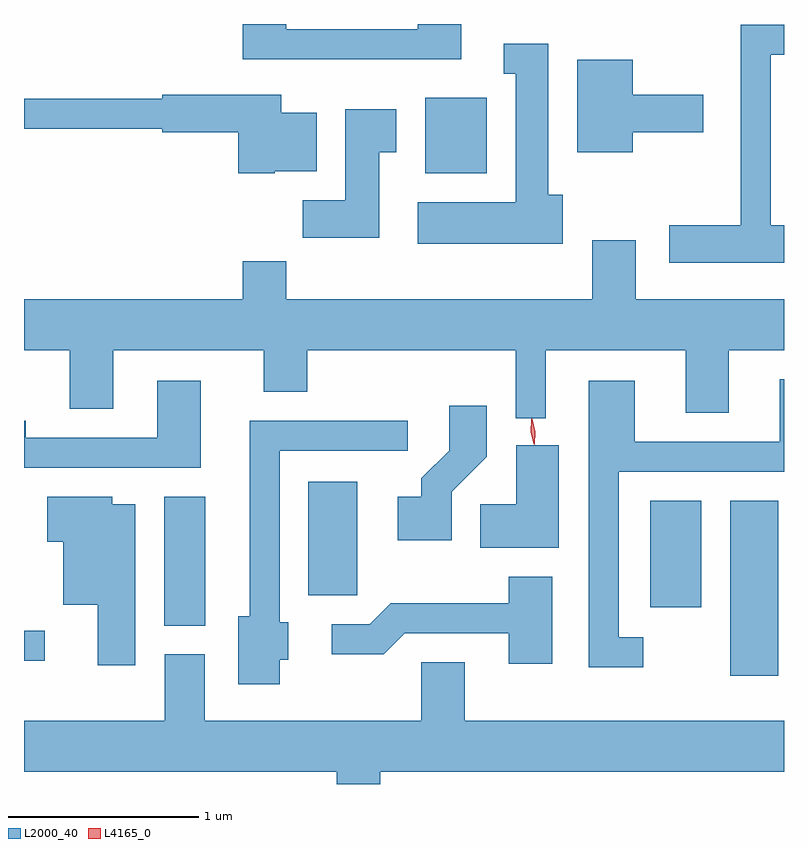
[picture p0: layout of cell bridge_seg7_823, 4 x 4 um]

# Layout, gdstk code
import gdstk
lib = gdstk.Library(unit=1e-6, precision=1e-09)
def R(c, l, rs):  # rectangles x0, y0, x1, y1
    for r in rs: c.add(gdstk.rectangle(r[:2], r[2:], *l))
def P(c, l, *ps):  # polygons
    for p in ps: c.add(gdstk.Polygon(p, *l))
L2000_40 = (2000, 40)
L4165_0 = (4165, 0)

bridge_seg7_823 = lib.new_cell('bridge_seg7_823')
R(bridge_seg7_823, L2000_40, [(204.936,1710.381,205.189,1711.304), (201.219,1710.461,201.328,1710.619), (201.956,1710.646,202.174,1711.324), (204.516,1710.741,204.784,1711.304), (202.716,1710.806,202.974,1711.404), (203.331,1713.026,203.654,1713.424)])
P(bridge_seg7_823, L2000_40, [(203.519,1713.812),(203.291,1713.812),(203.291,1713.784),(202.599,1713.784),(202.599,1713.812),(202.371,1713.812),(202.371,1713.626),(203.519,1713.626)],
  [(205.219,1712.754),(205.149,1712.754),(205.149,1713.651),(205.219,1713.651),(205.219,1713.809),(204.991,1713.809),(204.991,1712.754),(204.616,1712.754),(204.616,1712.556),(205.219,1712.556)],
  [(204.054,1712.914),(203.979,1712.914),(203.979,1713.709),(203.743,1713.709),(203.743,1713.551),(203.806,1713.551),(203.806,1712.874),(203.291,1712.874),(203.291,1712.656),(204.054,1712.656)],
  [(204.424,1713.241),(204.794,1713.241),(204.794,1713.439),(204.424,1713.439),(204.424,1713.624),(204.131,1713.624),(204.131,1713.136),(204.424,1713.136)],
  [(202.54,1713.036),(202.759,1713.036),(202.759,1713.344),(202.574,1713.344),(202.574,1713.439),(201.946,1713.439),(201.946,1713.419),(201.219,1713.419),(201.219,1713.261),(201.946,1713.261),(201.946,1713.241),(202.346,1713.241),(202.346,1713.026),(202.54,1713.026)],
  [(203.089,1713.136),(203.179,1713.136),(203.179,1713.364),(202.911,1713.364),(202.911,1712.884),(202.686,1712.884),(202.686,1712.686),(203.089,1712.686)],
  [(203.964,1712.096),(204.701,1712.096),(204.701,1711.766),(204.929,1711.766),(204.929,1712.096),(205.219,1712.096),(205.219,1712.364),(204.439,1712.364),(204.439,1712.674),(204.211,1712.674),(204.211,1712.364),(202.599,1712.364),(202.599,1712.564),(202.371,1712.564),(202.371,1712.364),(201.219,1712.364),(201.219,1712.096),(201.461,1712.096),(201.461,1711.786),(201.689,1711.786),(201.689,1712.096),(202.481,1712.096),(202.481,1711.876),(202.709,1711.876),(202.709,1712.096),(203.806,1712.096),(203.806,1711.738),(203.964,1711.738)],
  [(204.478,1710.584),(204.349,1710.584),(204.349,1711.456),(205.219,1711.456),(205.219,1711.943),(205.196,1711.943),(205.196,1711.614),(204.434,1711.614),(204.434,1711.934),(204.191,1711.934),(204.191,1710.426),(204.478,1710.426)],
  [(202.149,1711.934),(201.921,1711.934),(201.921,1711.634),(201.229,1711.634),(201.229,1711.724),(201.219,1711.724),(201.219,1711.476),(202.149,1711.476)],
  [(203.469,1711.349),(203.654,1711.534),(203.654,1711.804),(203.456,1711.804),(203.456,1711.567),(203.311,1711.422),(203.311,1711.324),(203.186,1711.324),(203.186,1711.096),(203.469,1711.096)],
  [(202.564,1710.466),(202.609,1710.466),(202.609,1710.664),(202.564,1710.664),(202.564,1711.566),(203.238,1711.566),(203.238,1711.724),(202.406,1711.724),(202.406,1710.694),(202.346,1710.694),(202.346,1710.336),(202.564,1710.336)],
  [(204.034,1711.594),(203.811,1711.594),(203.811,1711.284),(203.621,1711.284),(203.621,1711.056),(204.034,1711.056)],
  [(201.804,1711.284),(201.684,1711.284),(201.684,1711.324),(201.341,1711.324),(201.341,1711.086),(201.426,1711.086),(201.426,1710.756),(201.606,1710.756),(201.606,1710.436),(201.804,1710.436)],
  [(203.999,1710.904),(203.771,1710.904),(203.771,1710.764),(203.149,1710.764),(203.039,1710.654),(202.838,1710.654),(202.838,1710.496),(203.112,1710.496),(203.222,1710.606),(203.771,1710.606),(203.771,1710.446),(203.999,1710.446)],
  [(203.094,1709.876),(205.219,1709.876),(205.219,1710.144),(203.539,1710.144),(203.539,1710.454),(203.311,1710.454),(203.311,1710.144),(202.169,1710.144),(202.169,1710.494),(201.961,1710.494),(201.961,1710.144),(201.219,1710.144),(201.219,1709.876),(202.866,1709.876),(202.866,1709.812),(203.094,1709.812)])
P(bridge_seg7_823, L4165_0, [(203.902,1711.599),(203.902,1711.6),(203.886,1711.664),(203.889,1711.731),(203.89,1711.732),(203.89,1711.731),(203.906,1711.666),(203.903,1711.6)],
  [(203.908,1711.597),(203.907,1711.598),(203.89,1711.665),(203.892,1711.735),(203.892,1711.735),(203.893,1711.735),(203.91,1711.667),(203.908,1711.598)])

lib.write_gds('bridge_seg7_823.gds')
